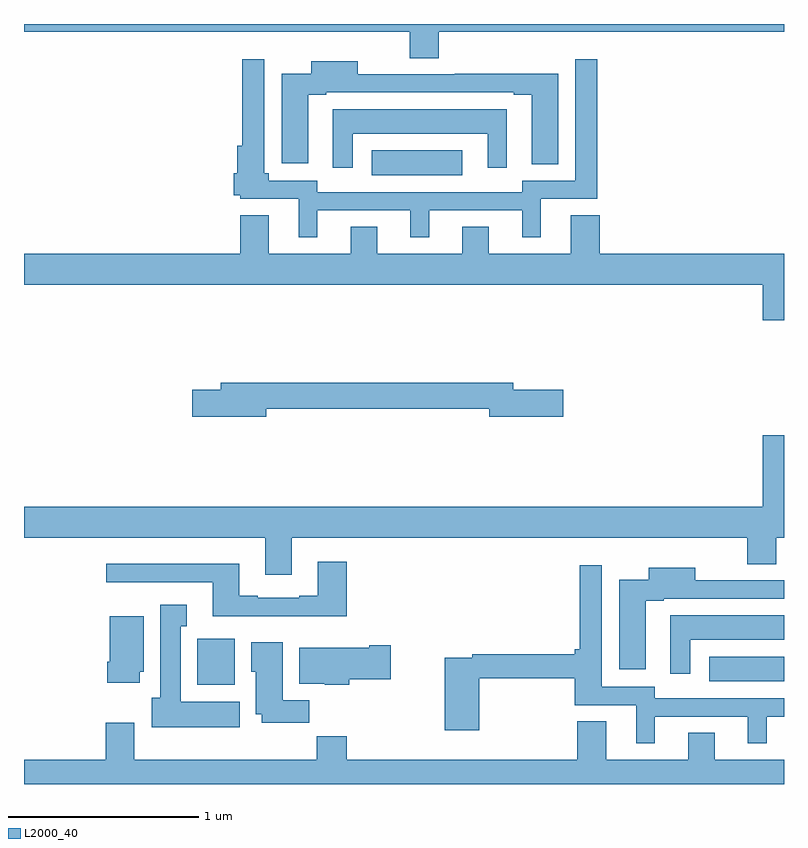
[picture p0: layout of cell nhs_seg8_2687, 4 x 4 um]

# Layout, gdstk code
import gdstk
lib = gdstk.Library(unit=1e-6, precision=1e-09)
def R(c, l, rs):  # rectangles x0, y0, x1, y1
    for r in rs: c.add(gdstk.rectangle(r[:2], r[2:], *l))
def P(c, l, *ps):  # polygons
    for p in ps: c.add(gdstk.Polygon(p, *l))
L2000_40 = (2000, 40)

nhs_seg8_2687 = lib.new_cell('nhs_seg8_2687')
R(nhs_seg8_2687, L2000_40, [(281.912,1086.422,282.109,1086.664), (284.607,1086.44,285,1086.571), (282.831,1089.104,283.306,1089.235)])
P(nhs_seg8_2687, L2000_40, [(281,1089.86),(283.031,1089.86),(283.031,1089.721),(283.184,1089.721),(283.184,1089.86),(285,1089.86),(285,1089.9),(281,1089.9)],
  [(282.544,1088.919),(283.034,1088.919),(283.034,1088.778),(283.132,1088.778),(283.132,1088.919),(283.622,1088.919),(283.622,1088.778),(283.72,1088.778),(283.72,1088.979),(284.018,1088.979),(284.018,1089.715),(283.902,1089.715),(283.902,1089.075),(283.623,1089.075),(283.623,1089.015),(282.543,1089.015),(282.543,1089.075),(282.287,1089.075),(282.287,1089.114),(282.264,1089.114),(282.264,1089.715),(282.148,1089.715),(282.148,1089.259),(282.122,1089.259),(282.122,1089.114),(282.104,1089.114),(282.104,1089),(282.138,1089),(282.138,1088.979),(282.446,1088.979),(282.446,1088.778),(282.544,1088.778)],
  [(283.813,1089.639),(283.267,1089.639),(283.267,1089.636),(282.757,1089.636),(282.757,1089.703),(282.512,1089.703),(282.512,1089.639),(282.356,1089.639),(282.356,1089.168),(282.496,1089.168),(282.496,1089.528),(282.592,1089.528),(282.592,1089.54),(283.577,1089.54),(283.577,1089.528),(283.673,1089.528),(283.673,1089.162),(283.813,1089.162)],
  [(282.73,1089.323),(283.442,1089.323),(283.442,1089.144),(283.54,1089.144),(283.54,1089.451),(282.626,1089.451),(282.626,1089.144),(282.73,1089.144)],
  [(285,1088.692),(284.03,1088.692),(284.03,1088.894),(283.877,1088.894),(283.877,1088.692),(283.447,1088.692),(283.447,1088.834),(283.307,1088.834),(283.307,1088.692),(282.859,1088.692),(282.859,1088.834),(282.719,1088.834),(282.719,1088.692),(282.289,1088.692),(282.289,1088.894),(282.137,1088.894),(282.137,1088.692),(281,1088.692),(281,1088.528),(284.888,1088.528),(284.888,1088.34),(285,1088.34)],
  [(282.274,1087.876),(283.448,1087.876),(283.448,1087.834),(283.837,1087.834),(283.837,1087.976),(283.576,1087.976),(283.576,1088.012),(282.035,1088.012),(282.035,1087.976),(281.886,1087.976),(281.886,1087.834),(282.274,1087.834)],
  [(282.409,1087.196),(284.807,1087.196),(284.807,1087.057),(284.96,1087.057),(284.96,1087.196),(285,1087.196),(285,1087.735),(284.888,1087.735),(284.888,1087.36),(281,1087.36),(281,1087.196),(282.269,1087.196),(282.269,1087.002),(282.409,1087.002)],
  [(282.698,1087.069),(282.545,1087.069),(282.545,1086.892),(282.449,1086.892),(282.449,1086.879),(282.229,1086.879),(282.229,1086.892),(282.133,1086.892),(282.133,1087.06),(281.433,1087.06),(281.433,1086.963),(281.993,1086.963),(281.993,1086.782),(282.698,1086.782)],
  [(284.32,1086.255),(284.81,1086.255),(284.81,1086.114),(284.908,1086.114),(284.908,1086.255),(285,1086.255),(285,1086.351),(284.319,1086.351),(284.319,1086.411),(284.04,1086.411),(284.04,1087.051),(283.924,1087.051),(283.924,1086.608),(283.898,1086.608),(283.898,1086.584),(283.36,1086.584),(283.36,1086.564),(283.214,1086.564),(283.214,1086.183),(283.397,1086.183),(283.397,1086.456),(283.898,1086.456),(283.898,1086.315),(284.222,1086.315),(284.222,1086.114),(284.32,1086.114)],
  [(284.272,1086.864),(284.368,1086.864),(284.368,1086.876),(285,1086.876),(285,1086.972),(284.533,1086.972),(284.533,1087.039),(284.288,1087.039),(284.288,1086.975),(284.132,1086.975),(284.132,1086.504),(284.272,1086.504)],
  [(282.136,1086.334),(281.824,1086.334),(281.824,1086.731),(281.857,1086.731),(281.857,1086.844),(281.717,1086.844),(281.717,1086.354),(281.672,1086.354),(281.672,1086.2),(282.136,1086.2)],
  [(284.506,1086.659),(285,1086.659),(285,1086.787),(284.402,1086.787),(284.402,1086.48),(284.506,1086.48)],
  [(281.608,1086.492),(281.629,1086.492),(281.629,1086.784),(281.45,1086.784),(281.45,1086.544),(281.438,1086.544),(281.438,1086.432),(281.608,1086.432)],
  [(282.5,1086.34),(282.361,1086.34),(282.361,1086.646),(282.197,1086.646),(282.197,1086.492),(282.221,1086.492),(282.221,1086.266),(282.251,1086.266),(282.251,1086.222),(282.5,1086.222)],
  [(282.713,1086.451),(282.931,1086.451),(282.931,1086.629),(282.818,1086.629),(282.818,1086.616),(282.449,1086.616),(282.449,1086.428),(282.582,1086.428),(282.582,1086.422),(282.713,1086.422)],
  [(285,1086.028),(284.635,1086.028),(284.635,1086.17),(284.495,1086.17),(284.495,1086.028),(284.065,1086.028),(284.065,1086.23),(283.913,1086.23),(283.913,1086.028),(282.698,1086.028),(282.698,1086.152),(282.541,1086.152),(282.541,1086.028),(281.581,1086.028),(281.581,1086.223),(281.429,1086.223),(281.429,1086.028),(281,1086.028),(281,1085.9),(285,1085.9)])

lib.write_gds('nhs_seg8_2687.gds')
